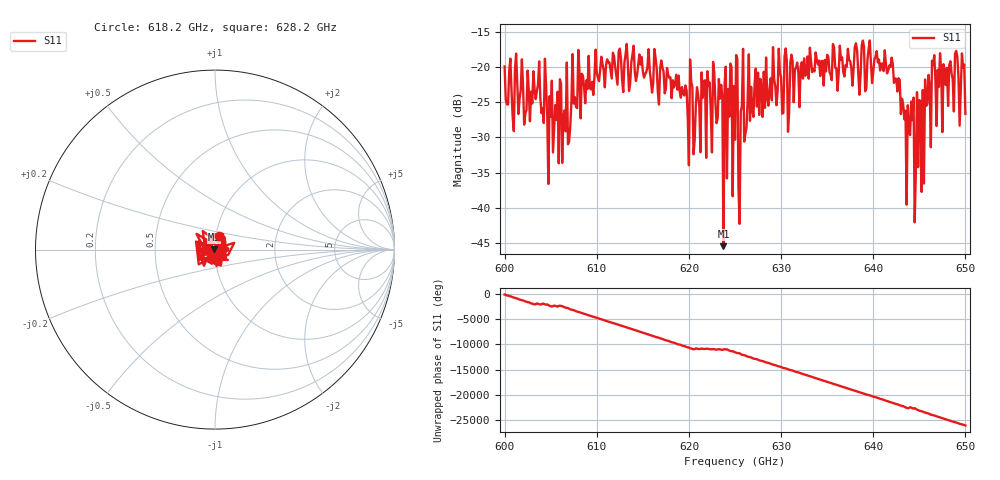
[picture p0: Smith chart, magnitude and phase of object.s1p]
!Created with skrf (http://scikit-rf.org).
# GHz S MA R 50.0
!freq magS11 angS11
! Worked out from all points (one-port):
!   401 points, 600 GHz to 650 GHz, reference 50 ohm
!   lowest |S11| = -45.5 dB at 623.8 GHz (marker M1), VSWR 1.01, Z = 49.5 + j0.212 ohm
!   |S11| at or under -10 dB: start of sweep to end of sweep
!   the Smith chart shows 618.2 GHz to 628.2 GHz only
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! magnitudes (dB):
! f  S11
! 600 GHz  -19.9
! 602.4 GHz  -26.1
! 603.5 GHz  -23.4
! 605 GHz  -27.0
! 606.2 GHz  -33.6
! 612.5 GHz  -17.4
! 618.8 GHz  -23.2
! 619.8 GHz  -23.3
! 623.4 GHz  -24.5
! 623.5 GHz  -22.5
! 623.8 GHz  -45.5
! 623.9 GHz  -22.4
! 624.2 GHz  -23.1
! 625 GHz  -30.3
! 625.5 GHz  -42.3
! 626.6 GHz  -27.6
! 631.2 GHz  -19.2
! 637.5 GHz  -19.1
! 641.9 GHz  -20.0
! 643.8 GHz  -25.4
! 644.1 GHz  -24.9
! 644.8 GHz  -23.5
! 644.9 GHz  -34.2
! 645.5 GHz  -36.6
! 645.9 GHz  -25.2
! 646.6 GHz  -18.3
! 649 GHz  -17.7
! 650 GHz  -26.6
